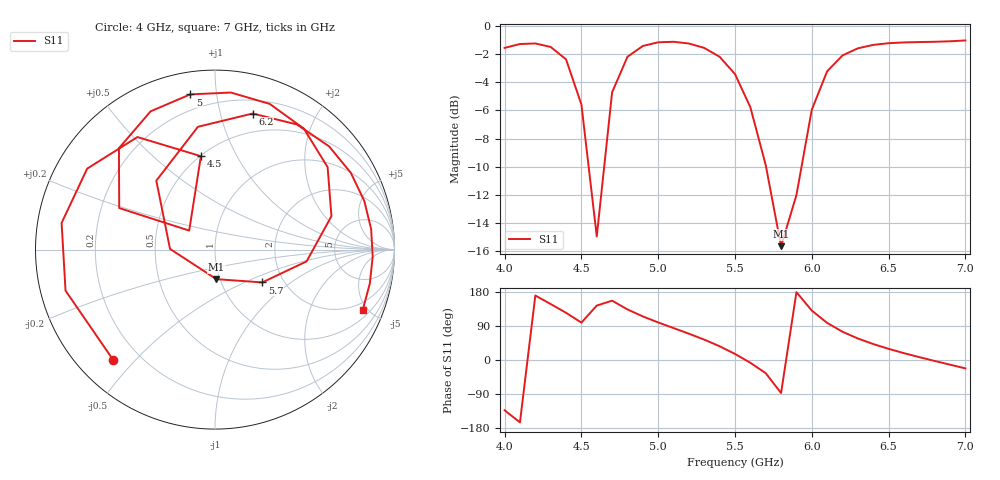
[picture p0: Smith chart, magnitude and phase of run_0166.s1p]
! Touchstone file exported from HFSS 2024.2.0
!  File:  C:/Users/wsak9/Desktop/Sim Fast/Widenad Patch/WP_AI_V1_sweep.aedt
!  Generated:  09:50:19 PM Oct 13, 2026
!  Design:  A1_model
!  Project:  WP_AI_V1_sweep
!  Setup:  Setup1
!  Solution:  Sweep
! Variables:
!  Air_gap = 1.63mm
!  Curve_Amp1 = 3.51
!  Curve_len1 = 1
!  Curve_pos = 12.085mm
!  Extra = 6.73mm
!  H_sub = 0.79mm
!  L_Patch = 20.17mm
!  L_Patch1 = 17.99mm
!  Sx = 1.07mm
!  Sy = 4.43mm
!  WS = 0.4mm
!  W_Patch = 10.14mm
!  W_Patch1 = 11.26mm
!Data is not renormalized
# GHz S MA
! Terminal data exported
! Port[1] = 1
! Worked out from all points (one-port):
!   31 points, 4 GHz to 7 GHz, reference per port
!   lowest |S11| = -15.7 dB at 5.8 GHz (marker M1), VSWR 1.40
!   |S11| at or under -10 dB: 4.547 GHz to 4.648 GHz (101.2 MHz wide, 2.2 % of centre); 5.702 GHz to 5.933 GHz (231.2 MHz wide, 3.97 % of centre)
!   S11 on the Smith chart (normalised r, x): 4 GHz: 0.11, -0.43; 4.5 GHz: 0.50, +0.73; 5 GHz: 0.11, +0.85; 5.7 GHz: 1.56, -0.63; 6.2 GHz: 0.32, +1.26; 7 GHz: 1.46, -4.67
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4  0.8365 -132.7
4.1  0.8635 -164.6
4.2  0.8675 170.1
4.3  0.843 147.7
4.4  0.7617 124.6
4.5  0.5263 98.6
4.6  0.1786 143.6
4.7  0.5816 156.6
4.8  0.778 133.5
4.9  0.8498 115.0
5  0.8757 99.1
5.1  0.8795 84.2
5.2  0.8671 69.4
5.3  0.8362 53.7
5.4  0.7776 36.2
5.5  0.6749 16.0
5.6  0.5145 -7.3
5.7  0.3204 -34.8
5.8  0.1649 -87.2
5.9  0.2507 179.1
6  0.5044 130.4
6.1  0.6907 97.9
6.2  0.7866 74.5
6.3  0.8336 56.7
6.4  0.8573 42.1
6.5  0.8692 29.5
6.7  0.8774 7.5
7  0.889 -22.1
